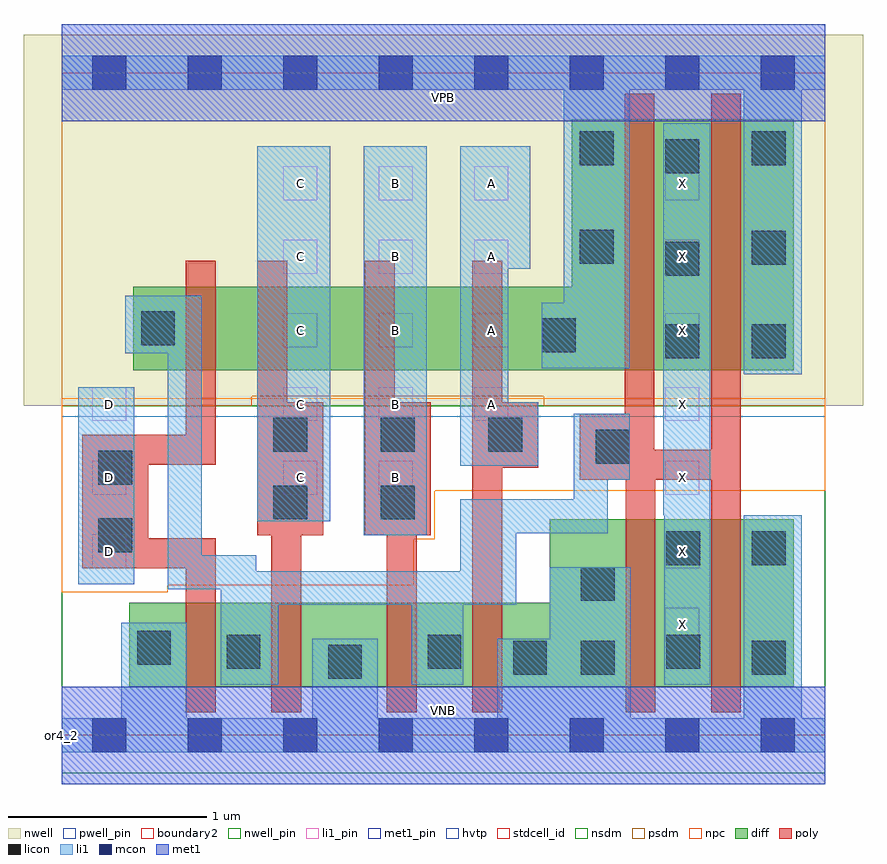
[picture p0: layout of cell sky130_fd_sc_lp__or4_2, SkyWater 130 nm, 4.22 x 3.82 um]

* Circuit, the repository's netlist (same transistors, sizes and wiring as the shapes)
* Copyright 2020 The SkyWater PDK Authors
*
* Licensed under the Apache License, Version 2.0 (the "License");
* you may not use this file except in compliance with the License.
* You may obtain a copy of the License at
*
*     https://www.apache.org/licenses/LICENSE-2.0
*
* Unless required by applicable law or agreed to in writing, software
* distributed under the License is distributed on an "AS IS" BASIS,
* WITHOUT WARRANTIES OR CONDITIONS OF ANY KIND, either express or implied.
* See the License for the specific language governing permissions and
* limitations under the License.
*
* SPDX-License-Identifier: Apache-2.0

.SUBCKT sky130_fd_sc_lp__or4_2 A B C D VGND VNB VPB VPWR X
*.PININFO A:I B:I C:I D:I VGND:I VNB:I VPB:I VPWR:I X:O
MMP0 VPWR A sndPA VPB sky130_fd_pr__pfet_01v8_hvt m=1 w=0.42U l=0.15U mult=1 sa=0.265
+ sb=0.265 sd=0.28 area=0.063 perim=1.14
MMP1 sndPA B sndPB VPB sky130_fd_pr__pfet_01v8_hvt m=1 w=0.42U l=0.15U mult=1 sa=0.265
+ sb=0.265 sd=0.28 area=0.063 perim=1.14
MMP2 sndPB C sndPC VPB sky130_fd_pr__pfet_01v8_hvt m=1 w=0.42U l=0.15U mult=1 sa=0.265
+ sb=0.265 sd=0.28 area=0.063 perim=1.14
MMP3 sndPC D y VPB sky130_fd_pr__pfet_01v8_hvt m=1 w=0.42U l=0.15U mult=1 sa=0.265
+ sb=0.265 sd=0.28 area=0.063 perim=1.14
MMIP4 X y VPWR VPB sky130_fd_pr__pfet_01v8_hvt m=2 w=1.26U l=0.15U mult=1 sa=0.265
+ sb=0.265 sd=0.28 area=0.063 perim=1.14
MMN0 y A VGND VNB sky130_fd_pr__nfet_01v8 m=1 w=0.42U l=0.15U mult=1 sa=0.265 sb=0.265
+ sd=0.28 area=0.063 perim=1.14
MMN1 y B VGND VNB sky130_fd_pr__nfet_01v8 m=1 w=0.42U l=0.15U mult=1 sa=0.265 sb=0.265
+ sd=0.28 area=0.063 perim=1.14
MMN2 y C VGND VNB sky130_fd_pr__nfet_01v8 m=1 w=0.42U l=0.15U mult=1 sa=0.265 sb=0.265
+ sd=0.28 area=0.063 perim=1.14
MMN3 y D VGND VNB sky130_fd_pr__nfet_01v8 m=1 w=0.42U l=0.15U mult=1 sa=0.265 sb=0.265
+ sd=0.28 area=0.063 perim=1.14
MMIN4 X y VGND VNB sky130_fd_pr__nfet_01v8 m=2 w=0.84U l=0.15U mult=1 sa=0.265
+ sb=0.265 sd=0.28 area=0.063 perim=1.14
.ENDS sky130_fd_sc_lp__or4_2

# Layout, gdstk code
import gdstk
lib = gdstk.Library(unit=1e-6, precision=1e-09)
def R(c, l, rs):  # rectangles x0, y0, x1, y1
    for r in rs: c.add(gdstk.rectangle(r[:2], r[2:], *l))
def A(c, l, x, y, w, h, nx, ny, dx, dy):  # array of equal rectangles
    R(c, l, [(x+i*dx, y+j*dy, x+i*dx+w, y+j*dy+h) for i in range(nx) for j in range(ny)])
def P(c, l, *ps):  # polygons
    for p in ps: c.add(gdstk.Polygon(p, *l))
nwell_pin = (64, 16)
nwell = (64, 20)
diff = (65, 20)
poly = (66, 20)
licon = (66, 44)
li1_pin = (67, 16)
li1 = (67, 20)
mcon = (67, 44)
met1_pin = (68, 16)
met1 = (68, 20)
hvtp = (78, 44)
stdcell_id = (81, 4)
nsdm = (93, 44)
psdm = (94, 20)
npc = (95, 20)
pwell_pin = (122, 16)
boundary2 = (236, 0)

sky130_fd_sc_lp__or4_2 = lib.new_cell('sky130_fd_sc_lp__or4_2')
R(sky130_fd_sc_lp__or4_2, nwell_pin, [(0,3.085,3.84,3.33)])
R(sky130_fd_sc_lp__or4_2, nwell, [(-0.19,1.655,4.03,3.52)])
P(sky130_fd_sc_lp__or4_2, diff, [(3.68,1.085),(2.455,1.085),(2.455,0.665),(0.34,0.665),(0.34,0.245),(3.68,0.245)],
  [(3.68,3.095),(2.565,3.095),(2.565,2.255),(0.36,2.255),(0.36,1.835),(3.68,1.835)])
P(sky130_fd_sc_lp__or4_2, poly, [(0.775,0.99),(0.435,0.99),(0.435,1.36),(0.775,1.36),(0.775,2.385),(0.625,2.385),(0.625,1.51),(0.105,1.51),(0.105,0.84),(0.625,0.84),(0.625,0.115),(0.775,0.115)],
  [(1.315,1.675),(1.135,1.675),(1.135,2.385),(0.985,2.385),(0.985,1.005),(1.055,1.005),(1.055,0.115),(1.205,0.115),(1.205,1.005),(1.315,1.005)],
  [(1.855,1.675),(1.675,1.675),(1.675,2.385),(1.525,2.385),(1.525,1.005),(1.635,1.005),(1.635,0.115),(1.785,0.115),(1.785,1.005),(1.855,1.005)],
  [(2.395,1.675),(2.215,1.675),(2.215,2.385),(2.065,2.385),(2.065,0.115),(2.215,0.115),(2.215,1.345),(2.395,1.345)],
  [(3.415,3.225),(3.265,3.225),(3.265,1.435),(2.98,1.435),(2.98,3.225),(2.83,3.225),(2.83,1.615),(2.605,1.615),(2.605,1.285),(2.835,1.285),(2.835,0.115),(2.985,0.115),(2.985,1.285),(3.265,1.285),(3.265,0.115),(3.415,0.115)])
A(sky130_fd_sc_lp__or4_2, licon, 1.065, 1.425, 0.17, 0.17, 3, 1, 0.54, 0)
R(sky130_fd_sc_lp__or4_2, licon, [(1.34,0.285,1.51,0.455), (2.27,0.305,2.44,0.475), (2.61,0.305,2.78,0.475), (3.47,0.305,3.64,0.475), (0.83,0.335,1,0.505), (1.84,0.335,2.01,0.505), (3.04,0.335,3.21,0.505), (0.38,0.355,0.55,0.525), (2.61,0.675,2.78,0.845), (3.04,0.855,3.21,1.025), (3.47,0.855,3.64,1.025), (0.185,0.92,0.355,1.09), (1.065,1.085,1.235,1.255), (1.605,1.085,1.775,1.255), (0.185,1.26,0.355,1.43), (2.685,1.365,2.855,1.535), (3.035,1.895,3.205,2.065), (3.47,1.895,3.64,2.065), (2.415,1.925,2.585,2.095), (0.4,1.96,0.57,2.13), (3.035,2.31,3.205,2.48), (3.47,2.365,3.64,2.535), (2.605,2.37,2.775,2.54), (3.035,2.825,3.205,2.995), (2.605,2.865,2.775,3.035), (3.47,2.865,3.64,3.035)])
A(sky130_fd_sc_lp__or4_2, li1_pin, 3.035, 0.47, 0.17, 0.17, 1, 7, 0, 0.37)
A(sky130_fd_sc_lp__or4_2, li1_pin, 0.155, 0.84, 0.17, 0.17, 1, 3, 0, 0.37)
A(sky130_fd_sc_lp__or4_2, li1_pin, 1.115, 1.58, 0.17, 0.17, 3, 4, 0.48, 0.37)
R(sky130_fd_sc_lp__or4_2, li1_pin, [(1.115,1.21,1.285,1.38), (1.595,1.21,1.765,1.38)])
R(sky130_fd_sc_lp__or4_2, li1, [(0.085,0.76,0.365,1.75), (1.52,1.005,1.835,2.96), (0.985,1.075,1.35,2.96)])
P(sky130_fd_sc_lp__or4_2, li1, [(3.84,3.415),(0,3.415),(0,3.245),(2.525,3.245),(2.525,2.175),(2.415,2.175),(2.415,1.845),(2.855,1.845),(2.855,3.245),(3.43,3.245),(3.43,1.815),(3.72,1.815),(3.72,3.245),(3.84,3.245)],
  [(3.84,0.085),(3.72,0.085),(3.72,1.105),(3.43,1.105),(3.43,0.085),(2.86,0.085),(2.86,0.845),(2.455,0.845),(2.455,0.485),(2.19,0.485),(2.19,0.085),(1.59,0.085),(1.59,0.485),(1.26,0.485),(1.26,0.085),(0.63,0.085),(0.63,0.565),(0.3,0.565),(0.3,0.085),(0,0.085),(0,-0.085),(3.84,-0.085)],
  [(3.03,0.255),(3.03,1.105),(3.025,1.105),(3.025,3.075),(3.26,3.075),(3.26,0.255)],
  [(2.355,2.96),(2.005,2.96),(2.005,1.355),(2.395,1.355),(2.395,1.675),(2.245,1.675),(2.245,2.345),(2.355,2.345)],
  [(2.855,1.615),(2.575,1.615),(2.575,1.185),(2.005,1.185),(2.005,0.825),(0.98,0.825),(0.98,0.905),(0.705,0.905),(0.705,2.21),(0.32,2.21),(0.32,1.92),(0.535,1.92),(0.535,0.735),(0.8,0.735),(0.8,0.255),(1.09,0.255),(1.09,0.655),(1.76,0.655),(1.76,0.255),(2.02,0.255),(2.02,0.655),(2.285,0.655),(2.285,1.015),(2.745,1.015),(2.745,1.285),(2.855,1.285)])
A(sky130_fd_sc_lp__or4_2, mcon, 0.155, -0.085, 0.17, 0.17, 8, 2, 0.48, 3.33)
R(sky130_fd_sc_lp__or4_2, met1_pin, [(0,0,3.84,0.245), (0,3.085,3.84,3.33)])
R(sky130_fd_sc_lp__or4_2, met1, [(0,-0.245,3.84,0.245), (0,3.085,3.84,3.575)])
R(sky130_fd_sc_lp__or4_2, hvtp, [(0,1.6,3.84,3.33)])
R(sky130_fd_sc_lp__or4_2, stdcell_id, [(0,0,3.84,3.33)])
R(sky130_fd_sc_lp__or4_2, nsdm, [(0,-0.19,3.84,1.655)])
P(sky130_fd_sc_lp__or4_2, psdm, [(3.84,3.52),(0,3.52),(0,1.655),(0.955,1.655),(0.955,1.705),(2.425,1.705),(2.425,1.655),(3.84,1.655)])
P(sky130_fd_sc_lp__or4_2, npc, [(3.84,1.695),(0,1.695),(0,0.72),(0.535,0.72),(0.535,0.755),(1.77,0.755),(1.77,0.985),(1.875,0.985),(1.875,1.23),(3.84,1.23)])
R(sky130_fd_sc_lp__or4_2, pwell_pin, [(0,0,3.84,0.245)])
R(sky130_fd_sc_lp__or4_2, boundary2, [(0,0,3.84,3.33)])
sky130_fd_sc_lp__or4_2.add(gdstk.Label('VNB', (1.92,0.123), layer=64, texttype=59))
sky130_fd_sc_lp__or4_2.add(gdstk.Label('VPB', (1.92,3.208), layer=64, texttype=5))
sky130_fd_sc_lp__or4_2.add(gdstk.Label('or4_2', (0,0), layer=83, texttype=44))
sky130_fd_sc_lp__or4_2.add(gdstk.Label('VPWR', (1.92,3.208), layer=68, texttype=5))
sky130_fd_sc_lp__or4_2.add(gdstk.Label('VGND', (1.92,0.123), layer=68, texttype=5))
sky130_fd_sc_lp__or4_2.add(gdstk.Label('X', (3.12,0.555), layer=67, texttype=5))
sky130_fd_sc_lp__or4_2.add(gdstk.Label('X', (3.12,0.925), layer=67, texttype=5))
sky130_fd_sc_lp__or4_2.add(gdstk.Label('X', (3.12,1.295), layer=67, texttype=5))
sky130_fd_sc_lp__or4_2.add(gdstk.Label('X', (3.12,1.665), layer=67, texttype=5))
sky130_fd_sc_lp__or4_2.add(gdstk.Label('X', (3.12,2.035), layer=67, texttype=5))
sky130_fd_sc_lp__or4_2.add(gdstk.Label('X', (3.12,2.405), layer=67, texttype=5))
sky130_fd_sc_lp__or4_2.add(gdstk.Label('X', (3.12,2.775), layer=67, texttype=5))
sky130_fd_sc_lp__or4_2.add(gdstk.Label('A', (2.16,1.665), layer=67, texttype=5))
sky130_fd_sc_lp__or4_2.add(gdstk.Label('A', (2.16,2.035), layer=67, texttype=5))
sky130_fd_sc_lp__or4_2.add(gdstk.Label('A', (2.16,2.405), layer=67, texttype=5))
sky130_fd_sc_lp__or4_2.add(gdstk.Label('A', (2.16,2.775), layer=67, texttype=5))
sky130_fd_sc_lp__or4_2.add(gdstk.Label('B', (1.68,1.295), layer=67, texttype=5))
sky130_fd_sc_lp__or4_2.add(gdstk.Label('B', (1.68,1.665), layer=67, texttype=5))
sky130_fd_sc_lp__or4_2.add(gdstk.Label('B', (1.68,2.035), layer=67, texttype=5))
sky130_fd_sc_lp__or4_2.add(gdstk.Label('B', (1.68,2.405), layer=67, texttype=5))
sky130_fd_sc_lp__or4_2.add(gdstk.Label('B', (1.68,2.775), layer=67, texttype=5))
sky130_fd_sc_lp__or4_2.add(gdstk.Label('C', (1.2,1.295), layer=67, texttype=5))
sky130_fd_sc_lp__or4_2.add(gdstk.Label('C', (1.2,1.665), layer=67, texttype=5))
sky130_fd_sc_lp__or4_2.add(gdstk.Label('C', (1.2,2.035), layer=67, texttype=5))
sky130_fd_sc_lp__or4_2.add(gdstk.Label('C', (1.2,2.405), layer=67, texttype=5))
sky130_fd_sc_lp__or4_2.add(gdstk.Label('C', (1.2,2.775), layer=67, texttype=5))
sky130_fd_sc_lp__or4_2.add(gdstk.Label('D', (0.24,0.925), layer=67, texttype=5))
sky130_fd_sc_lp__or4_2.add(gdstk.Label('D', (0.24,1.295), layer=67, texttype=5))
sky130_fd_sc_lp__or4_2.add(gdstk.Label('D', (0.24,1.665), layer=67, texttype=5))

lib.write_gds('sky130_fd_sc_lp__or4_2.gds')
